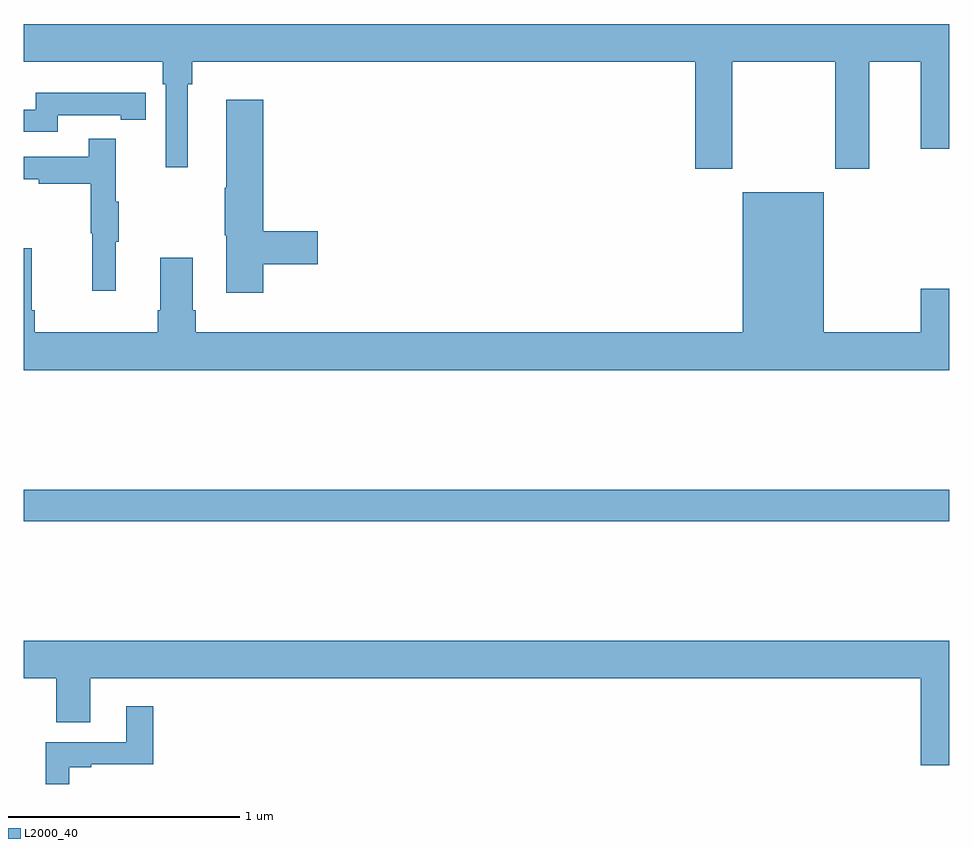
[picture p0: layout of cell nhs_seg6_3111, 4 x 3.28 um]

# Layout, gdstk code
import gdstk
lib = gdstk.Library(unit=1e-6, precision=1e-09)
def R(c, l, rs):  # rectangles x0, y0, x1, y1
    for r in rs: c.add(gdstk.rectangle(r[:2], r[2:], *l))
def P(c, l, *ps):  # polygons
    for p in ps: c.add(gdstk.Polygon(p, *l))
L2000_40 = (2000, 40)

nhs_seg6_3111 = lib.new_cell('nhs_seg6_3111')
R(nhs_seg6_3111, L2000_40, [(293,994.636,297,994.772)])
P(nhs_seg6_3111, L2000_40, [(296.061,996.62),(296.506,996.62),(296.506,996.159),(296.653,996.159),(296.653,996.62),(296.876,996.62),(296.876,996.246),(297,996.246),(297,996.784),(293,996.784),(293,996.62),(293.6,996.62),(293.6,996.524),(293.613,996.524),(293.613,996.165),(293.71,996.165),(293.71,996.524),(293.729,996.524),(293.729,996.62),(295.901,996.62),(295.901,996.159),(296.061,996.159)],
  [(293.148,996.39),(293.42,996.39),(293.42,996.37),(293.528,996.37),(293.528,996.486),(293.42,996.486),(293.42,996.487),(293.052,996.487),(293.052,996.414),(293,996.414),(293,996.318),(293.148,996.318)],
  [(294.035,995.746),(294.271,995.746),(294.271,995.888),(294.035,995.888),(294.035,996.457),(293.876,996.457),(293.876,996.077),(293.869,996.077),(293.869,995.871),(293.876,995.871),(293.876,995.622),(294.035,995.622)],
  [(293.399,995.843),(293.41,995.843),(293.41,996.017),(293.399,996.017),(293.399,996.289),(293.281,996.289),(293.281,996.21),(293,996.21),(293,996.114),(293.065,996.114),(293.065,996.094),(293.289,996.094),(293.289,995.88),(293.296,995.88),(293.296,995.631),(293.399,995.631)],
  [(297,995.641),(296.876,995.641),(296.876,995.452),(296.458,995.452),(296.458,996.058),(296.108,996.058),(296.108,995.452),(293.744,995.452),(293.744,995.548),(293.731,995.548),(293.731,995.773),(293.591,995.773),(293.591,995.548),(293.579,995.548),(293.579,995.452),(293.048,995.452),(293.048,995.548),(293.035,995.548),(293.035,995.815),(293,995.815),(293,995.288),(297,995.288)],
  [(297,994.12),(293,994.12),(293,993.956),(293.14,993.956),(293.14,993.766),(293.287,993.766),(293.287,993.956),(296.876,993.956),(296.876,993.582),(297,993.582)],
  [(293.198,993.573),(293.293,993.573),(293.293,993.585),(293.561,993.585),(293.561,993.835),(293.444,993.835),(293.444,993.681),(293.095,993.681),(293.095,993.5),(293.198,993.5)])

lib.write_gds('nhs_seg6_3111.gds')
